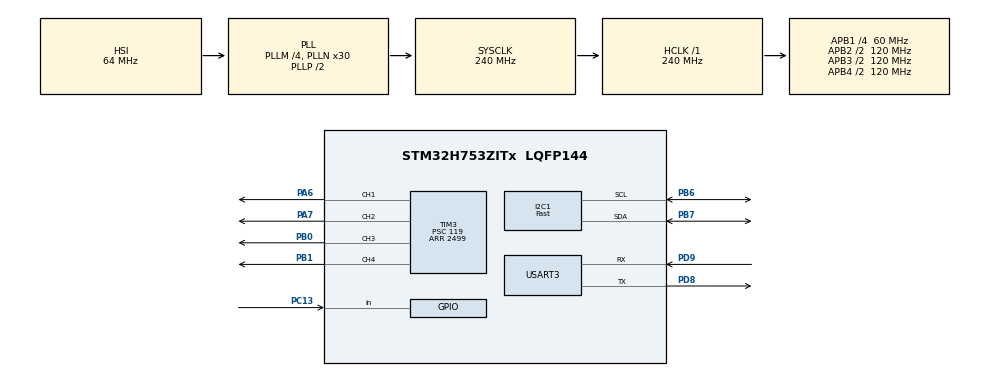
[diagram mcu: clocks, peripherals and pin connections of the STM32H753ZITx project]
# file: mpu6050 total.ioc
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CORTEX_M7.default_mode_Activation=1
Dma.I2C1_RX.0.Direction=DMA_PERIPH_TO_MEMORY
Dma.I2C1_RX.0.EventEnable=DISABLE
Dma.I2C1_RX.0.FIFOMode=DMA_FIFOMODE_DISABLE
Dma.I2C1_RX.0.Instance=DMA1_Stream0
Dma.I2C1_RX.0.MemDataAlignment=DMA_MDATAALIGN_BYTE
Dma.I2C1_RX.0.MemInc=DMA_MINC_ENABLE
Dma.I2C1_RX.0.Mode=DMA_NORMAL
Dma.I2C1_RX.0.PeriphDataAlignment=DMA_PDATAALIGN_BYTE
Dma.I2C1_RX.0.PeriphInc=DMA_PINC_DISABLE
Dma.I2C1_RX.0.Polarity=HAL_DMAMUX_REQ_GEN_RISING
Dma.I2C1_RX.0.Priority=DMA_PRIORITY_VERY_HIGH
Dma.I2C1_RX.0.RequestNumber=1
Dma.I2C1_RX.0.SignalID=NONE
Dma.I2C1_RX.0.SyncEnable=DISABLE
Dma.I2C1_RX.0.SyncPolarity=HAL_DMAMUX_SYNC_NO_EVENT
Dma.I2C1_RX.0.SyncRequestNumber=1
Dma.I2C1_RX.0.SyncSignalID=NONE
Dma.Request0=I2C1_RX
I2C1.I2C_Speed_Mode=I2C_Fast
I2C1.Timing=0x00501E6C
IWDG1.Prescaler=IWDG_PRESCALER_32
IWDG1.Reload=150
Mcu.Family=STM32H7
Mcu.Name=STM32H753ZITx
Mcu.Package=LQFP144
NVIC.DMA1_Stream0_IRQn=true\:0\:0\:false\:false\:true\:false\:true\:true
NVIC.I2C1_ER_IRQn=true\:3\:0\:true\:false\:true\:true\:true\:true
NVIC.I2C1_EV_IRQn=true\:3\:0\:true\:false\:true\:true\:true\:true
NVIC.PriorityGroup=NVIC_PRIORITYGROUP_4
NVIC.TIM6_DAC_IRQn=true\:1\:0\:true\:false\:true\:true\:true\:true
NVIC.USART3_IRQn=true\:5\:0\:true\:false\:true\:true\:true\:true
PA6.Signal=S_TIM3_CH1
PA7.Signal=S_TIM3_CH2
PB0.Signal=S_TIM3_CH3
PB1.Signal=S_TIM3_CH4
PB6.Mode=I2C
PB6.Signal=I2C1_SCL
PB7.Mode=I2C
PB7.Signal=I2C1_SDA
PC13.Signal=GPIO_Input
PD8.Mode=Asynchronous
PD8.Signal=USART3_TX
PD9.Mode=Asynchronous
PD9.Signal=USART3_RX
PH0-OSC_IN\ (PH0).Mode=HSE-External-Clock-Source
PH0-OSC_IN\ (PH0).Signal=RCC_OSC_IN
ProjectManager.HeapSize=0x200
ProjectManager.StackSize=0x400
ProjectManager.TargetToolchain=STM32CubeIDE
RCC.ADCFreq_Value=129000000
RCC.APB1Freq_Value=60000000
RCC.APB2Freq_Value=120000000
RCC.APB3Freq_Value=120000000
RCC.APB4Freq_Value=120000000
RCC.CortexFreq_Value=240000000
RCC.D1PPRE=RCC_APB3_DIV2
RCC.D2PPRE1=RCC_APB1_DIV4
RCC.D2PPRE2=RCC_APB2_DIV2
RCC.D3PPRE=RCC_APB4_DIV2
RCC.DIVM1=4
RCC.DIVN1=30
RCC.HCLKFreq_Value=240000000
RCC.PLL2FRACN=0
RCC.PLL3FRACN=0
RCC.PLLFRACN=0
RCC.SYSCLKFreq_VALUE=240000000
RCC.SYSCLKSource=RCC_SYSCLKSOURCE_PLLCLK
RCC.USBFreq_Value=240000000
SH.S_TIM3_CH1.0=TIM3_CH1,PWM Generation1 CH1
SH.S_TIM3_CH2.0=TIM3_CH2,PWM Generation2 CH2
SH.S_TIM3_CH3.0=TIM3_CH3,PWM Generation3 CH3
SH.S_TIM3_CH4.0=TIM3_CH4,PWM Generation4 CH4
TIM3.AutoReloadPreload=TIM_AUTORELOAD_PRELOAD_ENABLE
TIM3.Channel-PWM\ Generation1\ CH1=TIM_CHANNEL_1
TIM3.Channel-PWM\ Generation2\ CH2=TIM_CHANNEL_2
TIM3.Channel-PWM\ Generation3\ CH3=TIM_CHANNEL_3
TIM3.Channel-PWM\ Generation4\ CH4=TIM_CHANNEL_4
TIM3.Period=2499
TIM3.Prescaler=119
TIM6.AutoReloadPreload=TIM_AUTORELOAD_PRELOAD_ENABLE
TIM6.Period=999
TIM6.Prescaler=119
USART3.VirtualMode-Asynchronous=VM_ASYNC
VP_IWDG1_VS_IWDG.Mode=IWDG_Activate
VP_TIM3_VS_ClockSourceINT.Mode=Internal
VP_TIM6_VS_ClockSourceINT.Mode=Enable_Timer
board=custom

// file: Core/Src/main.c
/* USER CODE BEGIN Header */
/**
  ******************************************************************************
  * @file           : main.c
  * @brief          : Main program body
  ******************************************************************************
  * @attention
  *
  * Copyright (c) 2026 STMicroelectronics.
  * All rights reserved.
  *
  * This software is licensed under terms that can be found in the LICENSE file
  * in the root directory of this software component.
  * If no LICENSE file comes with this software, it is provided AS-IS.
  *
  ******************************************************************************
  */
/* USER CODE END Header */
#include "main.h"

/* USER CODE BEGIN Includes */
#include "mpu6050.h"
#include "madgwick.h"
#include "pid.h"
#include "lowpass.h"
#include "mixer.h"
#include "state_machine.h"
#include <stdio.h>
#include <string.h>
#include "crsf.h"
/* USER CODE END Includes */

I2C_HandleTypeDef hi2c1;
DMA_HandleTypeDef hdma_i2c1_rx;

IWDG_HandleTypeDef hiwdg1;

TIM_HandleTypeDef htim3;
TIM_HandleTypeDef htim6;

UART_HandleTypeDef huart3;

/* USER CODE BEGIN PV */
MPU6050_t mpu_data;          // Sensördeki tüm verileri tutacak çantamız
quaternion madgwick_data;
uint32_t loop_timer = 0;     // 250Hz kontrol döngüsü için kronometre
uint32_t telemetry_timer = 0;// 10Hz veri gönderimi için kronometre
float dt = 0.001f;             // Geçen süre (Delta Time)
char tx_buffer[128];         // Ekrana yazdıracağımız metin kutusu
uint32_t cycle_time;

volatile uint8_t imu_flag = 0; //bu değişkeni her seferinde RAM'den oku, aklında tutma, çünkü benim haberim olmadan değişebilir

PID_t pid_angle_roll; 		//Outer loop
PID_t pid_rate_roll; 		//Inner loop
float target_rate_roll = 0.0f; 		//Outer loop output
float roll_output = 0.0f; 		//Inner loop output

PID_t pid_angle_pitch; 		//Outer loop
PID_t pid_rate_pitch; 		//Inner loop
float target_rate_pitch = 0.0f; 	//Outer loop output
float pitch_output = 0.0f; 		//Inner loop output

PID_t pid_rate_yaw;
float target_rate_yaw = 0.0f;
float yaw_output = 0.0f;

LowPass_t lpf_gyro_x;
LowPass_t lpf_gyro_y;
LowPass_t lpf_gyro_z;
float gyro_x_filt = 0.0f;
float gyro_y_filt = 0.0f;
float gyro_z_filt = 0.0f;

Motor_Output_t motor_outputs;
RobotModel_t current_mode = MODE_AIR;
uint8_t is_armed = 1;									// Test mode: Motor lock disabled
float test_throttle = 1500.0f;							// Test mode: 50% throttle

FlightState_t state;
uint8_t btn_prev = GPIO_PIN_RESET;

CRSF_t crsf_data;
uint8_t crsf_rx_buffer[CRSF_TOTAL_PACKAGE_SIZE];
/* USER CODE END PV */

void SystemClock_Config(void);
static void MPU_Config(void);
static void MX_GPIO_Init(void);
static void MX_DMA_Init(void);
static void MX_USART3_UART_Init(void);
static void MX_I2C1_Init(void);
static void MX_TIM6_Init(void);
static void MX_TIM3_Init(void);
static void MX_IWDG1_Init(void);

/* USER CODE BEGIN 0 */
void DWT_Init(){
	CoreDebug->DEMCR |= CoreDebug_DEMCR_TRCENA_Msk;
	DWT->CYCCNT = 0;
	DWT->CTRL |= DWT_CTRL_CYCCNTENA_Msk;
}

/* USER CODE END 0 */

int main(void)
{

  /* MPU Configuration--------------------------------------------------------*/
  MPU_Config();

  /* MCU Configuration--------------------------------------------------------*/

  /* Reset of all peripherals, Initializes the Flash interface and the Systick. */
  HAL_Init();

  /* Configure the system clock */
  SystemClock_Config();

  /* Initialize all configured peripherals */
  MX_GPIO_Init();
  MX_DMA_Init();
  MX_USART3_UART_Init();
  MX_I2C1_Init();
  MX_TIM6_Init();
  MX_TIM3_Init();
  /* USER CODE BEGIN 2 */
  __HAL_DBGMCU_FREEZE_IWDG1();
  if (MPU6050_Init(&hi2c1) == 1) {
        char *msg = "Sensör Basariyla Uyandirildi!\r\n";
        HAL_UART_Transmit(&huart3, (uint8_t*)msg, strlen(msg), 100);
    } else {
        char *msg = "HATA: Sensör Bulunamadi!\r\n";
        HAL_UART_Transmit(&huart3, (uint8_t*)msg, strlen(msg), 100);
    }
  MPU6050_Calibrate_Gyro(&hi2c1, &mpu_data);
  telemetry_timer = HAL_GetTick();							//Hal delay kullanmamak icin

  PID_Init(&pid_angle_roll, 4.0f, 0.0f, 0.0f, -300.0f, 300.0f, 0.0f);
  PID_Init(&pid_angle_pitch, 4.0f, 0.0f, 0.0f, -300.0f, 300.0f, 0.0f);

  PID_Init(&pid_rate_roll, 0.7f, 0.3f, 0.02f, -100.0f, 100.0f, 30.0f);
  PID_Init(&pid_rate_pitch, 0.7f, 0.3f, 0.02f, -100.0f, 100.0f, 30.0f);

  PID_Init(&pid_rate_yaw, 2.0f, 0.5f, 0.0f, -100.0f, 100.0f, 30.0f);

  LowPass_Init(&lpf_gyro_x, 90.0f, 1000.0f);
  LowPass_Init(&lpf_gyro_y, 90.0f, 1000.0f);
  LowPass_Init(&lpf_gyro_z, 90.0f, 1000.0f);

  Mixer_Init(&motor_outputs);

  HAL_TIM_PWM_Start(&htim3, TIM_CHANNEL_1);
  HAL_TIM_PWM_Start(&htim3, TIM_CHANNEL_2);
  HAL_TIM_PWM_Start(&htim3, TIM_CHANNEL_3);
  HAL_TIM_PWM_Start(&htim3, TIM_CHANNEL_4);

  CRSF_Init(&crsf_data);

  State_Init(&state, 60.0f, 50, 10);

  DWT_Init();
  Madgwick_Init(&madgwick_data, 0.04f);
  HAL_TIM_Base_Start_IT(&htim6);

  HAL_UARTEx_ReceiveToIdle_IT(&huart3, crsf_rx_buffer, CRSF_TOTAL_PACKAGE_SIZE);

  uint32_t last_dwt_time = DWT->CYCCNT;

  MX_IWDG1_Init();								//Init watchdog
  /* USER CODE END 2 */

  /* Infinite loop */
  while (1)
  {

    /* USER CODE BEGIN 3 */

	  uint32_t current_time = HAL_GetTick();

	  if (imu_flag == 1) {
		  state.last_imu_tick = HAL_GetTick();

		  imu_flag = 0;

		  uint32_t current_dwt_time = DWT->CYCCNT;
		  dt = (float)(current_dwt_time - last_dwt_time) / (float)SystemCoreClock; // MHz işlemciye göre saniye cinsinden süre
		  last_dwt_time = current_dwt_time;

		  uint32_t dwt_start = DWT->CYCCNT;
	      float deg_to_rad = 3.14159265f / 180.0f;

	      gyro_x_filt = LowPass_Update(&lpf_gyro_x, mpu_data.gyro_x_dps);
	      gyro_y_filt = LowPass_Update(&lpf_gyro_y, mpu_data.gyro_y_dps);
	      gyro_z_filt = LowPass_Update(&lpf_gyro_z, mpu_data.gyro_z_dps);

	      Madgwick_Update(&madgwick_data,
	          mpu_data.gyro_x_dps * deg_to_rad,
	          mpu_data.gyro_y_dps * deg_to_rad,
	          mpu_data.gyro_z_dps * deg_to_rad,
	          mpu_data.accel_x_g,
	          mpu_data.accel_y_g,
	          mpu_data.accel_z_g,
	          dt);

	      CRSF_CheckFailsafe(&crsf_data);

	      State_Update(&state, madgwick_data.roll, madgwick_data.pitch, dt,crsf_data.is_connected);

	      if(state.mode == STATE_ARMED){
	      target_rate_roll = PID_Update(&pid_angle_roll, crsf_data.roll, madgwick_data.roll, dt);
	      roll_output = PID_Update(&pid_rate_roll, target_rate_roll, gyro_x_filt, dt);

	      target_rate_pitch = PID_Update(&pid_angle_pitch, crsf_data.pitch, madgwick_data.pitch, dt);
	      pitch_output = PID_Update(&pid_rate_pitch, target_rate_pitch, gyro_y_filt, dt);

	      target_rate_yaw = crsf_data.yaw;
	      yaw_output = PID_Update(&pid_rate_yaw, target_rate_yaw, gyro_z_filt, dt);

	      current_mode = (crsf_data.mode == 1) ? MODE_GROUND : MODE_AIR;

	      Mixer_Update(&motor_outputs, current_mode, crsf_data.throttle, roll_output, pitch_output, yaw_output, (state.mode == STATE_ARMED));

	      __HAL_TIM_SET_COMPARE(&htim3 , TIM_CHANNEL_1 , motor_outputs.m1);
	      __HAL_TIM_SET_COMPARE(&htim3 , TIM_CHANNEL_2 , motor_outputs.m2);
	      __HAL_TIM_SET_COMPARE(&htim3 , TIM_CHANNEL_3 , motor_outputs.m3);
	      __HAL_TIM_SET_COMPARE(&htim3 , TIM_CHANNEL_4 , motor_outputs.m4);
	      }
	      else{
	    	  __HAL_TIM_SET_COMPARE(&htim3 , TIM_CHANNEL_1 , 1000);
	    	  __HAL_TIM_SET_COMPARE(&htim3 , TIM_CHANNEL_2 , 1000);
	    	  __HAL_TIM_SET_COMPARE(&htim3 , TIM_CHANNEL_3 , 1000);
	    	  __HAL_TIM_SET_COMPARE(&htim3 , TIM_CHANNEL_4 , 1000);

	      }
	      uint32_t dwt_finish = DWT->CYCCNT;
	      cycle_time =(dwt_finish - dwt_start) / (SystemCoreClock / 1000000UL);

	      HAL_IWDG_Refresh(&hiwdg1);							// 1kHz loop alive signal (150ms timeout)
	      }

	  if ((current_time - telemetry_timer) >= 100) {
	            telemetry_timer = current_time; // Kronometreyi sıfırla

	            // Verileri UART üzerinden bilgisayara gönder (Sadece hat boşsa)
	            if (huart3.gState == HAL_UART_STATE_READY) {

	                // Verileri kütüphanemizdeki çantamızdan (mpu_data) çekiyoruz
	            	sprintf(tx_buffer, "RC:%d | TH:%.0f | AR:%d | MD:%d | M1:%u | M2:%u | M3:%u | M4:%u | R:%.1f | P:%.1f | CYC:%lu us\r\n",
	            	        crsf_data.is_connected, crsf_data.throttle, crsf_data.is_armed,
	            	        current_mode,
	            	        motor_outputs.m1, motor_outputs.m2, motor_outputs.m3, motor_outputs.m4,
	            	        madgwick_data.roll, madgwick_data.pitch,
	            	        cycle_time);
	                HAL_UART_Transmit_IT(&huart3, (uint8_t*)tx_buffer, strlen(tx_buffer));
	            }
	        }

	  if(crsf_data.is_armed == 1){
		  State_Arm(&state, crsf_data.is_connected, crsf_data.throttle);
	  }
	  else{
		  State_Disarm(&state);
	  }
  }
  /* USER CODE END 3 */
}

void SystemClock_Config(void)
{
  RCC_OscInitTypeDef RCC_OscInitStruct = {0};
  RCC_ClkInitTypeDef RCC_ClkInitStruct = {0};

  /** Supply configuration update enable
  */
  HAL_PWREx_ConfigSupply(PWR_LDO_SUPPLY);

  /** Configure the main internal regulator output voltage
  */
  __HAL_PWR_VOLTAGESCALING_CONFIG(PWR_REGULATOR_VOLTAGE_SCALE2);

  while(!__HAL_PWR_GET_FLAG(PWR_FLAG_VOSRDY)) {}

  /** Initializes the RCC Oscillators according to the specified parameters
  * in the RCC_OscInitTypeDef structure.
  */
  RCC_OscInitStruct.OscillatorType = RCC_OSCILLATORTYPE_HSI|RCC_OSCILLATORTYPE_LSI;
  RCC_OscInitStruct.HSIState = RCC_HSI_DIV1;
  RCC_OscInitStruct.HSICalibrationValue = RCC_HSICALIBRATION_DEFAULT;
  RCC_OscInitStruct.LSIState = RCC_LSI_ON;
  RCC_OscInitStruct.PLL.PLLState = RCC_PLL_ON;
  RCC_OscInitStruct.PLL.PLLSource = RCC_PLLSOURCE_HSI;
  RCC_OscInitStruct.PLL.PLLM = 4;
  RCC_OscInitStruct.PLL.PLLN = 30;
  RCC_OscInitStruct.PLL.PLLP = 2;
  RCC_OscInitStruct.PLL.PLLQ = 2;
  RCC_OscInitStruct.PLL.PLLR = 2;
  RCC_OscInitStruct.PLL.PLLRGE = RCC_PLL1VCIRANGE_3;
  RCC_OscInitStruct.PLL.PLLVCOSEL = RCC_PLL1VCOWIDE;
  RCC_OscInitStruct.PLL.PLLFRACN = 0;
  if (HAL_RCC_OscConfig(&RCC_OscInitStruct) != HAL_OK)
  {
    Error_Handler();
  }

  /** Initializes the CPU, AHB and APB buses clocks
  */
  RCC_ClkInitStruct.ClockType = RCC_CLOCKTYPE_HCLK|RCC_CLOCKTYPE_SYSCLK
                              |RCC_CLOCKTYPE_PCLK1|RCC_CLOCKTYPE_PCLK2
                              |RCC_CLOCKTYPE_D3PCLK1|RCC_CLOCKTYPE_D1PCLK1;
  RCC_ClkInitStruct.SYSCLKSource = RCC_SYSCLKSOURCE_PLLCLK;
  RCC_ClkInitStruct.SYSCLKDivider = RCC_SYSCLK_DIV1;
  RCC_ClkInitStruct.AHBCLKDivider = RCC_HCLK_DIV1;
  RCC_ClkInitStruct.APB3CLKDivider = RCC_APB3_DIV2;
  RCC_ClkInitStruct.APB1CLKDivider = RCC_APB1_DIV4;
  RCC_ClkInitStruct.APB2CLKDivider = RCC_APB2_DIV2;
  RCC_ClkInitStruct.APB4CLKDivider = RCC_APB4_DIV2;

  if (HAL_RCC_ClockConfig(&RCC_ClkInitStruct, FLASH_LATENCY_2) != HAL_OK)
  {
    Error_Handler();
  }
}

static void MX_I2C1_Init(void)
{

  hi2c1.Instance = I2C1;
  hi2c1.Init.Timing = 0x00501E6C;
  hi2c1.Init.OwnAddress1 = 0;
  hi2c1.Init.AddressingMode = I2C_ADDRESSINGMODE_7BIT;
  hi2c1.Init.DualAddressMode = I2C_DUALADDRESS_DISABLE;
  hi2c1.Init.OwnAddress2 = 0;
  hi2c1.Init.OwnAddress2Masks = I2C_OA2_NOMASK;
  hi2c1.Init.GeneralCallMode = I2C_GENERALCALL_DISABLE;
  hi2c1.Init.NoStretchMode = I2C_NOSTRETCH_DISABLE;
  if (HAL_I2C_Init(&hi2c1) != HAL_OK)
  {
    Error_Handler();
  }

  /** Configure Analogue filter
  */
  if (HAL_I2CEx_ConfigAnalogFilter(&hi2c1, I2C_ANALOGFILTER_ENABLE) != HAL_OK)
  {
    Error_Handler();
  }

  /** Configure Digital filter
  */
  if (HAL_I2CEx_ConfigDigitalFilter(&hi2c1, 0) != HAL_OK)
  {
    Error_Handler();
  }

}

static void MX_IWDG1_Init(void)
{

  hiwdg1.Instance = IWDG1;
  hiwdg1.Init.Prescaler = IWDG_PRESCALER_32;
  hiwdg1.Init.Window = 4095;
  hiwdg1.Init.Reload = 150;
  if (HAL_IWDG_Init(&hiwdg1) != HAL_OK)
  {
    Error_Handler();
  }

}

static void MX_TIM3_Init(void)
{

  TIM_ClockConfigTypeDef sClockSourceConfig = {0};
  TIM_MasterConfigTypeDef sMasterConfig = {0};
  TIM_OC_InitTypeDef sConfigOC = {0};

  htim3.Instance = TIM3;
  htim3.Init.Prescaler = 119;
  htim3.Init.CounterMode = TIM_COUNTERMODE_UP;
  htim3.Init.Period = 2499;
  htim3.Init.ClockDivision = TIM_CLOCKDIVISION_DIV1;
  htim3.Init.AutoReloadPreload = TIM_AUTORELOAD_PRELOAD_ENABLE;
  if (HAL_TIM_Base_Init(&htim3) != HAL_OK)
  {
    Error_Handler();
  }
  sClockSourceConfig.ClockSource = TIM_CLOCKSOURCE_INTERNAL;
  if (HAL_TIM_ConfigClockSource(&htim3, &sClockSourceConfig) != HAL_OK)
  {
    Error_Handler();
  }
  if (HAL_TIM_PWM_Init(&htim3) != HAL_OK)
  {
    Error_Handler();
  }
  sMasterConfig.MasterOutputTrigger = TIM_TRGO_RESET;
  sMasterConfig.MasterSlaveMode = TIM_MASTERSLAVEMODE_DISABLE;
  if (HAL_TIMEx_MasterConfigSynchronization(&htim3, &sMasterConfig) != HAL_OK)
  {
    Error_Handler();
  }
  sConfigOC.OCMode = TIM_OCMODE_PWM1;
  sConfigOC.Pulse = 0;
  sConfigOC.OCPolarity = TIM_OCPOLARITY_HIGH;
  sConfigOC.OCFastMode = TIM_OCFAST_DISABLE;
  if (HAL_TIM_PWM_ConfigChannel(&htim3, &sConfigOC, TIM_CHANNEL_1) != HAL_OK)
  {
    Error_Handler();
  }
  if (HAL_TIM_PWM_ConfigChannel(&htim3, &sConfigOC, TIM_CHANNEL_2) != HAL_OK)
  {
    Error_Handler();
  }
  if (HAL_TIM_PWM_ConfigChannel(&htim3, &sConfigOC, TIM_CHANNEL_3) != HAL_OK)
  {
    Error_Handler();
  }
  if (HAL_TIM_PWM_ConfigChannel(&htim3, &sConfigOC, TIM_CHANNEL_4) != HAL_OK)
  {
    Error_Handler();
  }
  HAL_TIM_MspPostInit(&htim3);

}

static void MX_TIM6_Init(void)
{

  TIM_MasterConfigTypeDef sMasterConfig = {0};

  htim6.Instance = TIM6;
  htim6.Init.Prescaler = 119;
  htim6.Init.CounterMode = TIM_COUNTERMODE_UP;
  htim6.Init.Period = 999;
  htim6.Init.AutoReloadPreload = TIM_AUTORELOAD_PRELOAD_ENABLE;
  if (HAL_TIM_Base_Init(&htim6) != HAL_OK)
  {
    Error_Handler();
  }
  sMasterConfig.MasterOutputTrigger = TIM_TRGO_RESET;
  sMasterConfig.MasterSlaveMode = TIM_MASTERSLAVEMODE_DISABLE;
  if (HAL_TIMEx_MasterConfigSynchronization(&htim6, &sMasterConfig) != HAL_OK)
  {
    Error_Handler();
  }

}

static void MX_USART3_UART_Init(void)
{

  huart3.Instance = USART3;
  huart3.Init.BaudRate = 115200;
  huart3.Init.WordLength = UART_WORDLENGTH_8B;
  huart3.Init.StopBits = UART_STOPBITS_1;
  huart3.Init.Parity = UART_PARITY_NONE;
  huart3.Init.Mode = UART_MODE_TX_RX;
  huart3.Init.HwFlowCtl = UART_HWCONTROL_NONE;
  huart3.Init.OverSampling = UART_OVERSAMPLING_16;
  huart3.Init.OneBitSampling = UART_ONE_BIT_SAMPLE_DISABLE;
  huart3.Init.ClockPrescaler = UART_PRESCALER_DIV1;
  huart3.AdvancedInit.AdvFeatureInit = UART_ADVFEATURE_NO_INIT;
  if (HAL_UART_Init(&huart3) != HAL_OK)
  {
    Error_Handler();
  }
  if (HAL_UARTEx_SetTxFifoThreshold(&huart3, UART_TXFIFO_THRESHOLD_1_8) != HAL_OK)
  {
    Error_Handler();
  }
  if (HAL_UARTEx_SetRxFifoThreshold(&huart3, UART_RXFIFO_THRESHOLD_1_8) != HAL_OK)
  {
    Error_Handler();
  }
  if (HAL_UARTEx_DisableFifoMode(&huart3) != HAL_OK)
  {
    Error_Handler();
  }

}

static void MX_DMA_Init(void)
{

  /* DMA controller clock enable */
  __HAL_RCC_DMA1_CLK_ENABLE();

  /* DMA interrupt init */
  /* DMA1_Stream0_IRQn interrupt configuration */
  HAL_NVIC_SetPriority(DMA1_Stream0_IRQn, 0, 0);
  HAL_NVIC_EnableIRQ(DMA1_Stream0_IRQn);

}

static void MX_GPIO_Init(void)
{
  GPIO_InitTypeDef GPIO_InitStruct = {0};

  /* GPIO Ports Clock Enable */
  __HAL_RCC_GPIOC_CLK_ENABLE();
  __HAL_RCC_GPIOH_CLK_ENABLE();
  __HAL_RCC_GPIOA_CLK_ENABLE();
  __HAL_RCC_GPIOB_CLK_ENABLE();
  __HAL_RCC_GPIOD_CLK_ENABLE();

  /*Configure GPIO pin : PC13 */
  GPIO_InitStruct.Pin = GPIO_PIN_13;
  GPIO_InitStruct.Mode = GPIO_MODE_INPUT;
  GPIO_InitStruct.Pull = GPIO_NOPULL;
  HAL_GPIO_Init(GPIOC, &GPIO_InitStruct);

}

/* USER CODE BEGIN 4 */
void HAL_TIM_PeriodElapsedCallback(TIM_HandleTypeDef *htim){				//TIM period callback'i
	if (htim->Instance == TIM6)
		if (HAL_I2C_GetState(&hi2c1) == HAL_I2C_STATE_READY){
				MPU6050_Read_All_DMA(&hi2c1); // timer tetiklendiginde hat dolu değilse veri oku
		}
}
extern uint8_t mpu_rx_buffer[32];
void HAL_I2C_MemRxCpltCallback(I2C_HandleTypeDef *hi2c){					//I2C Hafıza Okuma İşlemi Tamamlandı Fonksiyonu
	if (hi2c->Instance == I2C1){ // Gelen kargo I2C1'e (MPU6050) mi ait?
		SCB_InvalidateDCache_by_Addr((uint32_t*)mpu_rx_buffer, 32);   		//DCache (eski veriyi sil)
		MPU6050_Process_DMA_Data(&mpu_data);
		imu_flag = 1;
	}

}
void HAL_I2C_ErrorCallback(I2C_HandleTypeDef *hi2c) {
    if (hi2c->Instance == I2C1) {
        // Hattın kilitlendiğini anlarsak I2C'yi kapatıp yeniden kuruyoruz
        HAL_I2C_DeInit(hi2c);
        MX_I2C1_Init();
    }
}

void HAL_UARTEx_RxEventCallback(UART_HandleTypeDef *huart, uint16_t Size) {
    if (huart->Instance == USART3) {
        if (Size == CRSF_TOTAL_PACKAGE_SIZE) {
            CRSF_ProcessPacket(&crsf_data, crsf_rx_buffer);
        }
        HAL_UARTEx_ReceiveToIdle_IT(&huart3, crsf_rx_buffer, CRSF_TOTAL_PACKAGE_SIZE);
    }
}

void HAL_UART_ErrorCallback(UART_HandleTypeDef *huart) {
    if (huart->Instance == USART3) {
        __HAL_UART_CLEAR_OREFLAG(huart);
        HAL_UARTEx_ReceiveToIdle_IT(&huart3, crsf_rx_buffer, CRSF_TOTAL_PACKAGE_SIZE);
    }
}
/* USER CODE END 4 */

 /* MPU Configuration */

void MPU_Config(void)
{
  MPU_Region_InitTypeDef MPU_InitStruct = {0};

  /* Disables the MPU */
  HAL_MPU_Disable();

  /** Initializes and configures the Region and the memory to be protected
  */
  MPU_InitStruct.Enable = MPU_REGION_ENABLE;
  MPU_InitStruct.Number = MPU_REGION_NUMBER0;
  MPU_InitStruct.BaseAddress = 0x0;
  MPU_InitStruct.Size = MPU_REGION_SIZE_4GB;
  MPU_InitStruct.SubRegionDisable = 0x87;
  MPU_InitStruct.TypeExtField = MPU_TEX_LEVEL0;
  MPU_InitStruct.AccessPermission = MPU_REGION_NO_ACCESS;
  MPU_InitStruct.DisableExec = MPU_INSTRUCTION_ACCESS_DISABLE;
  MPU_InitStruct.IsShareable = MPU_ACCESS_SHAREABLE;
  MPU_InitStruct.IsCacheable = MPU_ACCESS_NOT_CACHEABLE;
  MPU_InitStruct.IsBufferable = MPU_ACCESS_NOT_BUFFERABLE;

  HAL_MPU_ConfigRegion(&MPU_InitStruct);
  /* Enables the MPU */
  HAL_MPU_Enable(MPU_PRIVILEGED_DEFAULT);

}

void Error_Handler(void)
{
  __disable_irq();
  while (1)
  {
  }
}
